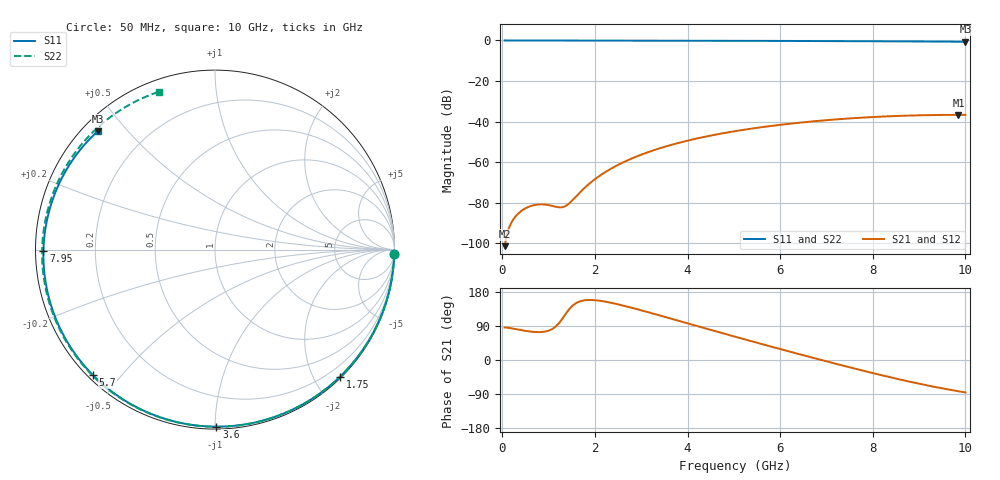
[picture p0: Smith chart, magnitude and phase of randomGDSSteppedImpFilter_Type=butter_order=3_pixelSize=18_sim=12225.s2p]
! freq	dB(S11)	phase(S11)	dB(S12)	phase(S12)
!  dB(S21)	phase(S21)	dB(S22)	phase(S22)
!S-par simulation data
#  GHz  S  DB  R 50
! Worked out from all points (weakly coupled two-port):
!   200 points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, 50 MHz to 10 GHz, reference 50 ohm
!   highest |S21| = -36.68 dB at 9.85 GHz (marker M1); lowest = -101.4 dB at 50 MHz (marker M2)
!   lowest |S11| = -0.6 dB at 10 GHz (marker M3), VSWR 27.00, Z = 2.17 + j20.8 ohm
!   |S11| at or under -10 dB: nowhere
!   |S22| runs from -0.6 to 0.0 dB; largest |S21 - S12| = 0
!   S11 on the Smith chart (normalised r, x): 50 MHz: 2, -89; 1.75 GHz: 0.02, -2.38; 3.6 GHz: 0.01, -1.01; 5.7 GHz: 0.01, -0.42; 7.95 GHz: 0.02, -0.00; 10 GHz: 0.04, +0.42
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0.05  -0.01 -1.3  -101.41 85.4  -101.41 85.4  -0.00 -1.5
0.4  -0.02 -10.6  -84.23 79.0  -84.23 79.0  -0.02 -12.3
0.7  -0.02 -18.5  -81.11 74.0  -81.11 74.0  -0.03 -21.5
1.05  -0.03 -27.7  -81.40 80.0  -81.40 80.0  -0.04 -32.1
1.45  -0.05 -37.9  -80.20 134.8  -80.20 134.8  -0.06 -43.9
1.75  -0.06 -45.5  -73.26 157.0  -73.26 157.0  -0.07 -52.6
2.05  -0.07 -53.0  -67.56 157.2  -67.56 157.2  -0.08 -61.1
2.45  -0.08 -62.8  -61.93 148.3  -61.93 148.3  -0.09 -72.1
2.9  -0.09 -73.5  -57.20 134.5  -57.20 134.5  -0.10 -84.1
3.4  -0.11 -85.0  -53.16 117.6  -53.16 117.6  -0.12 -96.9
3.6  -0.12 -89.5  -51.79 110.7  -51.79 110.7  -0.13 -101.9
4.3  -0.14 -104.9  -47.84 86.4  -47.84 86.4  -0.16 -118.7
5.05  -0.18 -120.8  -44.63 60.7  -44.63 60.7  -0.19 -136.0
5.7  -0.22 -134.1  -42.45 38.8  -42.45 38.8  -0.23 -150.5
6.2  -0.25 -144.2  -41.07 22.3  -41.07 22.3  -0.26 -161.5
6.7  -0.28 -154.3  -39.91 6.1  -39.91 6.1  -0.30 -172.5
7.35  -0.34 -167.4  -38.68 -14.6  -38.68 -14.6  -0.35 173.1
7.95  -0.39 -179.7  -37.81 -33.0  -37.81 -33.0  -0.40 159.6
8.35  -0.43 171.9  -37.38 -44.8  -37.38 -44.8  -0.44 150.3
9.1  -0.52 155.7  -36.85 -65.1  -36.85 -65.1  -0.51 132.3
9.85  -0.62 138.4  -36.68 -82.5  -36.68 -82.5  -0.59 113.3
10  -0.64 134.8  -36.69 -85.7  -36.69 -85.7  -0.60 109.4
